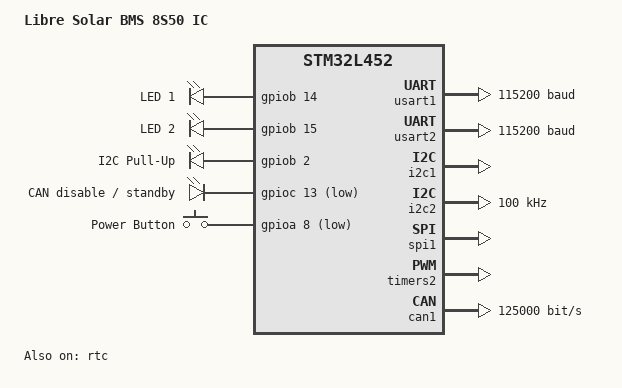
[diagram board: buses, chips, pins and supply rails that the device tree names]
/*
 * SPDX-License-Identifier: Apache-2.0
 *
 * Copyright (c) 2020 Martin Jäger / Libre Solar
 */

/dts-v1/;
#include <st/l4/stm32l452Xc.dtsi>

/ {
	model = "Libre Solar BMS 8S50 IC";
	compatible = "st,stm32l452";

	chosen {
		zephyr,console = &usart1;
		zephyr,shell-uart = &usart1;
		zephyr,sram = &sram0;
		zephyr,flash = &flash0;
	};

	leds {
		compatible = "gpio-leds";
		led1: led_0 {
			gpios = <&gpiob 14 GPIO_INT_ACTIVE_HIGH>;
			label = "LED 1";
		};
		led2: led_1 {
			gpios = <&gpiob 15 GPIO_INT_ACTIVE_HIGH>;
			label = "LED 2";
		};
		/* TODO: put to GPIOs or similar */
		i2c_pu: pb_2 {
			gpios = <&gpiob 2 GPIO_INT_ACTIVE_HIGH>;
			label = "I2C Pull-Up";
		};
		can_stb: can_stb {
			gpios = <&gpioc 13 GPIO_INT_ACTIVE_LOW>;
			label = "CAN disable / standby";
		};
	};

	gpio_keys {
		compatible = "gpio-keys";
		power_button: button {
			label = "Power Button";
			gpios = <&gpioa 8 GPIO_INT_ACTIVE_LOW>;
		};
	};

	aliases {
		led-red = &led1;
		led-green = &led2;
		i2c-pullup = &i2c_pu;
		can-stb = &can_stb;
		sw-pwr = &power_button;
		i2c-uext = &i2c1;
		uart-dbg = &usart1;
	};
};

&usart1 {
	current-speed = <115200>;
	status = "okay";
};

&usart2 {
	current-speed = <115200>;
	status = "okay";
};

&i2c1 {
	status = "okay";
};

&i2c2 {
	status = "okay";
	clock-frequency = <I2C_BITRATE_STANDARD>;
};

&spi1 {
	status = "okay";
};

&timers2 {
	status = "okay";

	pwm {
		status = "okay";
	};
};

&can1 {
	bus-speed = <125000>;
	status = "okay";
};

&rtc {
	status = "okay";
};

&flash0 {
	partitions {
		compatible = "fixed-partitions";
		#address-cells = <1>;
		#size-cells = <1>;

		/*
		 * Reserve the final 16 KiB for file system partition
		 */
		storage_partition: partition@3c000 {
			label = "storage";
			reg = <0x0003c000 0x00004000>;
		};
	};
};
